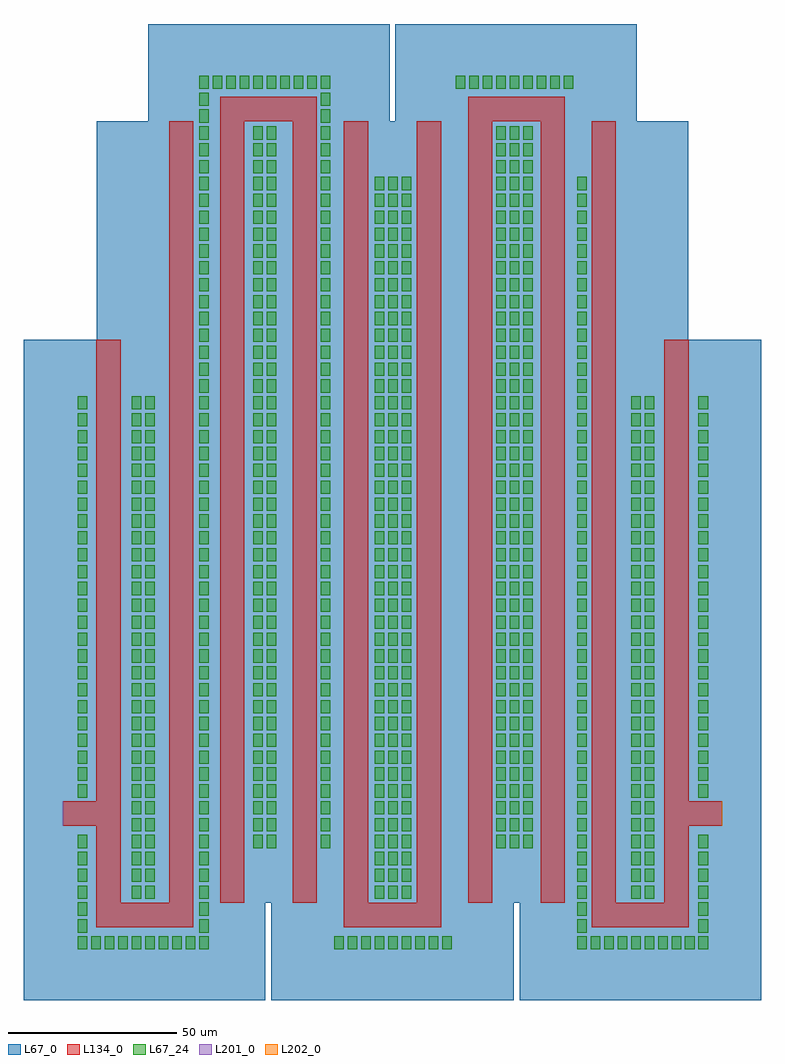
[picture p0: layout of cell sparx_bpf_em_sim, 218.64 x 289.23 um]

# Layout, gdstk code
from math import pi, radians
import gdstk
lib = gdstk.Library(unit=1e-6, precision=1e-09)
def R(c, l, rs):  # rectangles x0, y0, x1, y1
    for r in rs: c.add(gdstk.rectangle(r[:2], r[2:], *l))
L67_0 = (67, 0)
L67_24 = (67, 24)
L134_0 = (134, 0)
L201_0 = (201, 0)
L202_0 = (202, 0)

straight_gdsfactorypcomp = lib.new_cell('straight_gdsfactorypcomponentspwaveguidespstraight_L10__462e98a7')
R(straight_gdsfactorypcomp, L134_0, [(0,-3.6,10,3.6)])

c_straight_gdsfactorypcomp = lib.new_cell('straight_gdsfactorypcomponentspwaveguidespstraight_L10__690d543a')
R(c_straight_gdsfactorypcomp, L67_0, [(0,-25.2,10,25.2)])

tline_l10_scstopmetal2_r = lib.new_cell('tline_L10_SCStopmetal2_routing_GCSmetal5_routing_WNone_Z50_N2')
tline_l10_scstopmetal2_r.add(gdstk.Reference(straight_gdsfactorypcomp, (0,0)))
tline_l10_scstopmetal2_r.add(gdstk.Reference(c_straight_gdsfactorypcomp, (0,0)))

c_straight_gdsfactorypcomp_ = lib.new_cell('straight_gdsfactorypcomponentspwaveguidespstraight_L166_27507053')
R(c_straight_gdsfactorypcomp_, L134_0, [(0,-3.6,166.83,3.6)])

c_straight_gdsfactorypcomp__ = lib.new_cell('straight_gdsfactorypcomponentspwaveguidespstraight_L166_8440dd5a')
R(c_straight_gdsfactorypcomp__, L67_0, [(0,-25.2,166.83,25.2)])

tline_l166p83_scstopmeta = lib.new_cell('tline_L166p83_SCStopmetal2_routing_GCSmetal5_routing_WN_d4e773c3')
tline_l166p83_scstopmeta.add(gdstk.Reference(c_straight_gdsfactorypcomp_, (0,0)))
tline_l166p83_scstopmeta.add(gdstk.Reference(c_straight_gdsfactorypcomp__, (0,0)))

coupler_tline_z55p445032 = lib.new_cell('coupler_tline_Z55p445032974130925_Z45p5367147301159_L23_81a19ac5')
R(coupler_tline_z55p445032, L67_0, [(0,-32.52,231.63,32.52)])
R(coupler_tline_z55p445032, L134_0, [(0,-11.13,231.63,-4), (0,4,231.63,11.13)])

rectangle_gdsfactorypcom = lib.new_cell('rectangle_gdsfactorypcomponentspshapesprectangle_S7p2_7_2a688ad3')
R(rectangle_gdsfactorypcom, L134_0, [(0,0,7.2,7.2)])

unnamed_59 = lib.new_cell('Unnamed_59')
R(unnamed_59, L67_0, [(0,0,50.4,50.4)])

c__corner_rectangle_w7p2_l = lib.new_cell('_corner_rectangle_W7p2_L7p2_SCStopmetal2_routing_GCSmet_6323a6bc')
c__corner_rectangle_w7p2_l.add(gdstk.Reference(rectangle_gdsfactorypcom, (0,0)))
c__corner_rectangle_w7p2_l.add(gdstk.Reference(unnamed_59, (-21.6,-21.6)))

c_straight_gdsfactorypcomp___ = lib.new_cell('straight_gdsfactorypcomponentspwaveguidespstraight_L14p_fff0b771')
R(c_straight_gdsfactorypcomp___, L134_0, [(0,-3.6,14.33,3.6)])

c_straight_gdsfactorypcomp____ = lib.new_cell('straight_gdsfactorypcomponentspwaveguidespstraight_L14p_afb3fce0')
R(c_straight_gdsfactorypcomp____, L67_0, [(0,-25.2,14.33,25.2)])

tline_l14p33_scstopmetal = lib.new_cell('tline_L14p33_SCStopmetal2_routing_GCSmetal5_routing_WNone_Z50_N2')
tline_l14p33_scstopmetal.add(gdstk.Reference(c_straight_gdsfactorypcomp___, (0,0)))
tline_l14p33_scstopmetal.add(gdstk.Reference(c_straight_gdsfactorypcomp____, (0,0)))

c_rectangle_gdsfactorypcom = lib.new_cell('rectangle_gdsfactorypcomponentspshapesprectangle_S7p13__ae953bf7')
R(c_rectangle_gdsfactorypcom, L134_0, [(0,0,7.13,7.2)])

unnamed_66 = lib.new_cell('Unnamed_66')
R(unnamed_66, L67_0, [(0,0,49.91,50.4)])

c__corner_rectangle_w7p2_l_ = lib.new_cell('_corner_rectangle_W7p2_L7p13_SCStopmetal2_routing_GCSme_0a65c955')
c__corner_rectangle_w7p2_l_.add(gdstk.Reference(c_rectangle_gdsfactorypcom, (0,0)))
c__corner_rectangle_w7p2_l_.add(gdstk.Reference(unnamed_66, (-21.39,-21.6)))

coupler_tline_z50p349509 = lib.new_cell('coupler_tline_Z50p349509800930605_Z49p65530934184336_L2_123dc688')
R(coupler_tline_z50p349509, L67_0, [(0,-32.8,231.63,32.8)])
R(coupler_tline_z50p349509, L134_0, [(0,-11.2,231.63,-4), (0,4,231.63,11.2)])

c_straight_gdsfactorypcomp_____ = lib.new_cell('straight_gdsfactorypcomponentspwaveguidespstraight_L14p_055b01f6')
R(c_straight_gdsfactorypcomp_____, L134_0, [(0,-3.6,14.4,3.6)])

c_straight_gdsfactorypcomp______ = lib.new_cell('straight_gdsfactorypcomponentspwaveguidespstraight_L14p_2750b8ef')
R(c_straight_gdsfactorypcomp______, L67_0, [(0,-25.2,14.4,25.2)])

tline_l14p4_scstopmetal2 = lib.new_cell('tline_L14p4_SCStopmetal2_routing_GCSmetal5_routing_WNone_Z50_N2')
tline_l14p4_scstopmetal2.add(gdstk.Reference(c_straight_gdsfactorypcomp_____, (0,0)))
tline_l14p4_scstopmetal2.add(gdstk.Reference(c_straight_gdsfactorypcomp______, (0,0)))

c__slit_ground = lib.new_cell('_slit_ground')
R(c__slit_ground, L67_24, [(1.1,1.1,4,5)])

c_rectangle_gdsfactorypcom_ = lib.new_cell('rectangle_gdsfactorypcomponentspshapesprectangle_S0p1_7_a4c304ac')
R(c_rectangle_gdsfactorypcom_, L201_0, [(0,0,0.1,7.2)])

c_rectangle_gdsfactorypcom__ = lib.new_cell('rectangle_gdsfactorypcomponentspshapesprectangle_S0p1_7_f59edcc8')
R(c_rectangle_gdsfactorypcom__, L202_0, [(0,0,0.1,7.2)])

sparx_bpf_em_sim = lib.new_cell('sparx_bpf_em_sim')
sparx_bpf_em_sim.add(gdstk.Reference(tline_l10_scstopmetal2_r, (0,0)))
sparx_bpf_em_sim.add(gdstk.Reference(tline_l166p83_scstopmeta, (13.6,140.4), rotation=3*pi/2))
sparx_bpf_em_sim.add(gdstk.Reference(coupler_tline_z55p445032, (42.66,205.2), rotation=3*pi/2))
sparx_bpf_em_sim.add(gdstk.Reference(c__corner_rectangle_w7p2_l, (10,-33.63)))
sparx_bpf_em_sim.add(gdstk.Reference(tline_l14p33_scstopmetal, (17.2,-30.03)))
sparx_bpf_em_sim.add(gdstk.Reference(c__corner_rectangle_w7p2_l_, (31.53,-33.63)))
sparx_bpf_em_sim.add(gdstk.Reference(coupler_tline_z50p349509, (79.32,205.2), rotation=3*pi/2))
sparx_bpf_em_sim.add(gdstk.Reference(c__corner_rectangle_w7p2_l_, (46.66,205.2)))
sparx_bpf_em_sim.add(gdstk.Reference(tline_l14p33_scstopmetal, (53.79,208.8)))
sparx_bpf_em_sim.add(gdstk.Reference(c__corner_rectangle_w7p2_l, (68.12,205.2)))
sparx_bpf_em_sim.add(gdstk.Reference(coupler_tline_z50p349509, (116.12,205.2), rotation=3*pi/2))
sparx_bpf_em_sim.add(gdstk.Reference(c__corner_rectangle_w7p2_l, (83.32,-33.63)))
sparx_bpf_em_sim.add(gdstk.Reference(tline_l14p4_scstopmetal2, (90.52,-30.03)))
sparx_bpf_em_sim.add(gdstk.Reference(c__corner_rectangle_w7p2_l, (104.92,-33.63)))
sparx_bpf_em_sim.add(gdstk.Reference(coupler_tline_z55p445032, (152.78,205.2), rotation=3*pi/2))
sparx_bpf_em_sim.add(gdstk.Reference(c__corner_rectangle_w7p2_l, (120.12,205.2)))
sparx_bpf_em_sim.add(gdstk.Reference(tline_l14p33_scstopmetal, (127.32,208.8)))
sparx_bpf_em_sim.add(gdstk.Reference(c__corner_rectangle_w7p2_l_, (141.65,205.2)))
sparx_bpf_em_sim.add(gdstk.Reference(c__corner_rectangle_w7p2_l_, (156.78,-33.63)))
sparx_bpf_em_sim.add(gdstk.Reference(tline_l14p33_scstopmetal, (163.91,-30.03)))
sparx_bpf_em_sim.add(gdstk.Reference(c__corner_rectangle_w7p2_l, (178.24,-33.63)))
sparx_bpf_em_sim.add(gdstk.Reference(tline_l166p83_scstopmeta, (181.84,140.4), rotation=3*pi/2, x_reflection=True))
sparx_bpf_em_sim.add(gdstk.Reference(tline_l10_scstopmetal2_r, (185.44,0)))
r = gdstk.Reference(c__slit_ground, (3.3,3.67)); r.repetition = gdstk.Repetition(1, 24, v1=(0,0), v2=(0,5)); sparx_bpf_em_sim.add(r)
r = gdstk.Reference(c__slit_ground, (187.3,3.67)); r.repetition = gdstk.Repetition(1, 24, v1=(0,0), v2=(0,5)); sparx_bpf_em_sim.add(r)
r = gdstk.Reference(c__slit_ground, (19.3,-26.33)); r.repetition = gdstk.Repetition(2, 30, v1=(4,0), v2=(0,5)); sparx_bpf_em_sim.add(r)
r = gdstk.Reference(c__slit_ground, (91.3,-26.33)); r.repetition = gdstk.Repetition(3, 43, v1=(4,0), v2=(0,5)); sparx_bpf_em_sim.add(r)
r = gdstk.Reference(c__slit_ground, (167.3,-26.33)); r.repetition = gdstk.Repetition(2, 30, v1=(4,0), v2=(0,5)); sparx_bpf_em_sim.add(r)
r = gdstk.Reference(c__slit_ground, (55.3,-11.33)); r.repetition = gdstk.Repetition(2, 43, v1=(4,0), v2=(0,5)); sparx_bpf_em_sim.add(r)
r = gdstk.Reference(c__slit_ground, (127.3,-11.33)); r.repetition = gdstk.Repetition(3, 43, v1=(4,0), v2=(0,5)); sparx_bpf_em_sim.add(r)
r = gdstk.Reference(c__slit_ground, (3.3,-41.33)); r.repetition = gdstk.Repetition(1, 7, v1=(0,0), v2=(0,5)); sparx_bpf_em_sim.add(r)
r = gdstk.Reference(c__slit_ground, (7.3,-41.33)); r.repetition = gdstk.Repetition(9, 1, v1=(4,0), v2=(0,0)); sparx_bpf_em_sim.add(r)
r = gdstk.Reference(c__slit_ground, (39.3,-36.33)); r.repetition = gdstk.Repetition(1, 51, v1=(0,0), v2=(0,5)); sparx_bpf_em_sim.add(r)
r = gdstk.Reference(c__slit_ground, (43.3,213.67)); r.repetition = gdstk.Repetition(9, 1, v1=(4,0), v2=(0,0)); sparx_bpf_em_sim.add(r)
r = gdstk.Reference(c__slit_ground, (75.3,-11.33)); r.repetition = gdstk.Repetition(1, 45, v1=(0,0), v2=(0,5)); sparx_bpf_em_sim.add(r)
r = gdstk.Reference(c__slit_ground, (79.3,-41.33)); r.repetition = gdstk.Repetition(9, 1, v1=(4,0), v2=(0,0)); sparx_bpf_em_sim.add(r)
r = gdstk.Reference(c__slit_ground, (115.3,213.67)); r.repetition = gdstk.Repetition(9, 1, v1=(4,0), v2=(0,0)); sparx_bpf_em_sim.add(r)
r = gdstk.Reference(c__slit_ground, (151.3,-41.33)); r.repetition = gdstk.Repetition(1, 46, v1=(0,0), v2=(0,5)); sparx_bpf_em_sim.add(r)
r = gdstk.Reference(c__slit_ground, (155.3,-41.33)); r.repetition = gdstk.Repetition(9, 1, v1=(4,0), v2=(0,0)); sparx_bpf_em_sim.add(r)
r = gdstk.Reference(c__slit_ground, (187.3,-36.33)); r.repetition = gdstk.Repetition(1, 6, v1=(0,0), v2=(0,5)); sparx_bpf_em_sim.add(r)
sparx_bpf_em_sim.add(gdstk.Reference(c_rectangle_gdsfactorypcom_, (0,-3.6)))
sparx_bpf_em_sim.add(gdstk.Reference(c_rectangle_gdsfactorypcom__, (195.34,-3.6)))

lib.write_gds('sparx_bpf_em_sim.gds')
